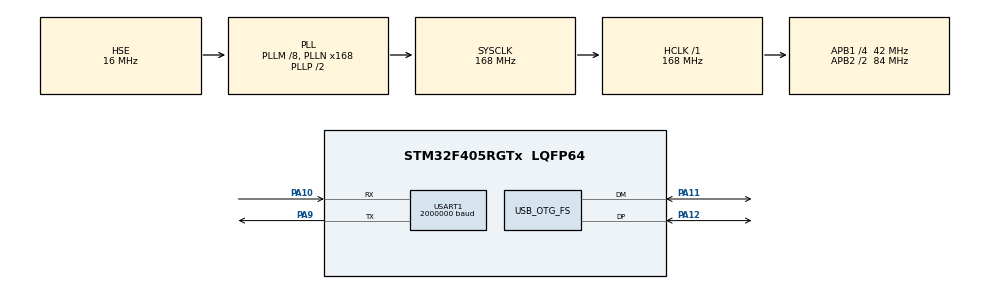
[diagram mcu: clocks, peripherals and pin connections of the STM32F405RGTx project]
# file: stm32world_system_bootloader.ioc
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Mcu.Family=STM32F4
Mcu.Name=STM32F405RGTx
Mcu.Package=LQFP64
NVIC.OTG_FS_IRQn=true\:0\:0\:false\:false\:true\:false\:true\:true
NVIC.PriorityGroup=NVIC_PRIORITYGROUP_4
PA10.Mode=Asynchronous
PA10.Signal=USART1_RX
PA11.Mode=Device_Only
PA11.Signal=USB_OTG_FS_DM
PA12.Mode=Device_Only
PA12.Signal=USB_OTG_FS_DP
PA13.Mode=Trace_Asynchronous_SW
PA13.Signal=SYS_JTMS-SWDIO
PA14.Mode=Trace_Asynchronous_SW
PA14.Signal=SYS_JTCK-SWCLK
PA9.Mode=Asynchronous
PA9.Signal=USART1_TX
PB3.Mode=Trace_Asynchronous_SW
PB3.Signal=SYS_JTDO-SWO
PH0-OSC_IN.Mode=HSE-External-Oscillator
PH0-OSC_IN.Signal=RCC_OSC_IN
PH1-OSC_OUT.Mode=HSE-External-Oscillator
PH1-OSC_OUT.Signal=RCC_OSC_OUT
ProjectManager.HeapSize=0x200
ProjectManager.StackSize=0x400
ProjectManager.TargetToolchain=STM32CubeIDE
RCC.48MHZClocksFreq_Value=48000000
RCC.AHBFreq_Value=168000000
RCC.APB1CLKDivider=RCC_HCLK_DIV4
RCC.APB1Freq_Value=42000000
RCC.APB1TimFreq_Value=84000000
RCC.APB2CLKDivider=RCC_HCLK_DIV2
RCC.APB2Freq_Value=84000000
RCC.APB2TimFreq_Value=168000000
RCC.CortexFreq_Value=168000000
RCC.HCLKFreq_Value=168000000
RCC.HSE_VALUE=16000000
RCC.HSI_VALUE=16000000
RCC.LSE_VALUE=32768
RCC.PLLM=8
RCC.PLLN=168
RCC.PLLQ=7
RCC.SYSCLKFreq_VALUE=168000000
RCC.SYSCLKSource=RCC_SYSCLKSOURCE_PLLCLK
RCC.VCOOutputFreq_Value=336000000
USART1.BaudRate=2000000
USART1.VirtualMode=VM_ASYNC
USB_DEVICE.CLASS_NAME_FS=CDC
USB_DEVICE.MANUFACTURER_STRING-CDC_FS=STM32World
USB_DEVICE.VirtualMode-CDC_FS=Cdc
USB_DEVICE.VirtualModeFS=Cdc_FS
USB_OTG_FS.VirtualMode=Device_Only
VP_USB_DEVICE_VS_USB_DEVICE_CDC_FS.Mode=CDC_FS
board=custom

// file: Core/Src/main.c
/* USER CODE BEGIN Header */
/**
 ******************************************************************************
 * @file           : main.c
 * @brief          : Main program body
 ******************************************************************************
 * @attention
 *
 * Copyright (c) 2024 Lars Boegild Thomsen <lth@stm32world.com>
 * All rights reserved.
 *
 * This software is licensed under terms that can be found in the LICENSE file
 * in the root directory of this software component.
 * If no LICENSE file comes with this software, it is provided AS-IS.
 *
 ******************************************************************************
 */
/* USER CODE END Header */
#include "main.h"
#include "usb_device.h"

/* USER CODE BEGIN Includes */
#include <stdio.h>
/* USER CODE END Includes */

/* USER CODE BEGIN PTD */
typedef void (*pFunction)(void);
/* USER CODE END PTD */

/* USER CODE BEGIN PD */
#define BOOTLOADER_ADDRESS 0x1FFF0000
#define BOOTLOADER_FLAG 0xDEADBEEF
/* USER CODE END PD */

UART_HandleTypeDef huart1;

/* USER CODE BEGIN PV */
extern int _bflag;
extern int _estack;
uint32_t *bootloader_flag;

/* Remember to pop, or everything after push gets optimized to specified level */

/* USER CODE END PV */

void SystemClock_Config(void);
static void MX_GPIO_Init(void);
static void MX_USART1_UART_Init(void);

/* USER CODE BEGIN 0 */

// Send printf to uart1
int _write(int fd, char* ptr, int len) {
  HAL_StatusTypeDef hstatus;

  if (fd == 1 || fd == 2) {
    hstatus = HAL_UART_Transmit(&huart1, (uint8_t *) ptr, len, HAL_MAX_DELAY);
    if (hstatus == HAL_OK)
      return len;
    else
      return -1;
  }
  return -1;
}

/* USER CODE END 0 */

int main(void)
{

  /* USER CODE BEGIN 1 */

    //bootloader_flag = (uint32_t*) (&_estack - 100);
    bootloader_flag = (uint32_t *)(&_bflag);

    if (*bootloader_flag == BOOTLOADER_FLAG)
    {

        *bootloader_flag = 0;

        pFunction JumpToApplication;
        uint32_t JumpAddress;

        /* Jump to system memory bootloader */
        JumpAddress = *(__IO uint32_t*) (BOOTLOADER_ADDRESS + 4);
        JumpToApplication = (pFunction) JumpAddress;
        JumpToApplication();

    }

  /* USER CODE END 1 */

  /* MCU Configuration--------------------------------------------------------*/

  /* Reset of all peripherals, Initializes the Flash interface and the Systick. */
  HAL_Init();

  /* Configure the system clock */
  SystemClock_Config();

  /* Initialize all configured peripherals */
  MX_GPIO_Init();
  MX_USART1_UART_Init();
  MX_USB_DEVICE_Init();
  /* USER CODE BEGIN 2 */

  printf("\n\n\n--------\nStarting\n");

  /* USER CODE END 2 */

  /* Infinite loop */
  /* USER CODE BEGIN WHILE */

    uint32_t now = 0, reboot = 10000;

    while (1) {

        now = uwTick;

        if (now >= reboot) {
            printf("Jumping to bootloader\n");
            *bootloader_flag = BOOTLOADER_FLAG;
            HAL_NVIC_SystemReset();
        }

    /* USER CODE END WHILE */

    }
}

void SystemClock_Config(void)
{
  RCC_OscInitTypeDef RCC_OscInitStruct = {0};
  RCC_ClkInitTypeDef RCC_ClkInitStruct = {0};

  /** Configure the main internal regulator output voltage
  */
  __HAL_RCC_PWR_CLK_ENABLE();
  __HAL_PWR_VOLTAGESCALING_CONFIG(PWR_REGULATOR_VOLTAGE_SCALE1);

  /** Initializes the RCC Oscillators according to the specified parameters
  * in the RCC_OscInitTypeDef structure.
  */
  RCC_OscInitStruct.OscillatorType = RCC_OSCILLATORTYPE_HSE;
  RCC_OscInitStruct.HSEState = RCC_HSE_ON;
  RCC_OscInitStruct.PLL.PLLState = RCC_PLL_ON;
  RCC_OscInitStruct.PLL.PLLSource = RCC_PLLSOURCE_HSE;
  RCC_OscInitStruct.PLL.PLLM = 8;
  RCC_OscInitStruct.PLL.PLLN = 168;
  RCC_OscInitStruct.PLL.PLLP = RCC_PLLP_DIV2;
  RCC_OscInitStruct.PLL.PLLQ = 7;
  if (HAL_RCC_OscConfig(&RCC_OscInitStruct) != HAL_OK)
  {
    Error_Handler();
  }

  /** Initializes the CPU, AHB and APB buses clocks
  */
  RCC_ClkInitStruct.ClockType = RCC_CLOCKTYPE_HCLK|RCC_CLOCKTYPE_SYSCLK
                              |RCC_CLOCKTYPE_PCLK1|RCC_CLOCKTYPE_PCLK2;
  RCC_ClkInitStruct.SYSCLKSource = RCC_SYSCLKSOURCE_PLLCLK;
  RCC_ClkInitStruct.AHBCLKDivider = RCC_SYSCLK_DIV1;
  RCC_ClkInitStruct.APB1CLKDivider = RCC_HCLK_DIV4;
  RCC_ClkInitStruct.APB2CLKDivider = RCC_HCLK_DIV2;

  if (HAL_RCC_ClockConfig(&RCC_ClkInitStruct, FLASH_LATENCY_5) != HAL_OK)
  {
    Error_Handler();
  }
}

static void MX_USART1_UART_Init(void)
{

  huart1.Instance = USART1;
  huart1.Init.BaudRate = 2000000;
  huart1.Init.WordLength = UART_WORDLENGTH_8B;
  huart1.Init.StopBits = UART_STOPBITS_1;
  huart1.Init.Parity = UART_PARITY_NONE;
  huart1.Init.Mode = UART_MODE_TX_RX;
  huart1.Init.HwFlowCtl = UART_HWCONTROL_NONE;
  huart1.Init.OverSampling = UART_OVERSAMPLING_16;
  if (HAL_UART_Init(&huart1) != HAL_OK)
  {
    Error_Handler();
  }

}

static void MX_GPIO_Init(void)
{

  /* GPIO Ports Clock Enable */
  __HAL_RCC_GPIOH_CLK_ENABLE();
  __HAL_RCC_GPIOA_CLK_ENABLE();
  __HAL_RCC_GPIOB_CLK_ENABLE();

}

void Error_Handler(void)
{
    __disable_irq();
    while (1)
    {
    }
}
